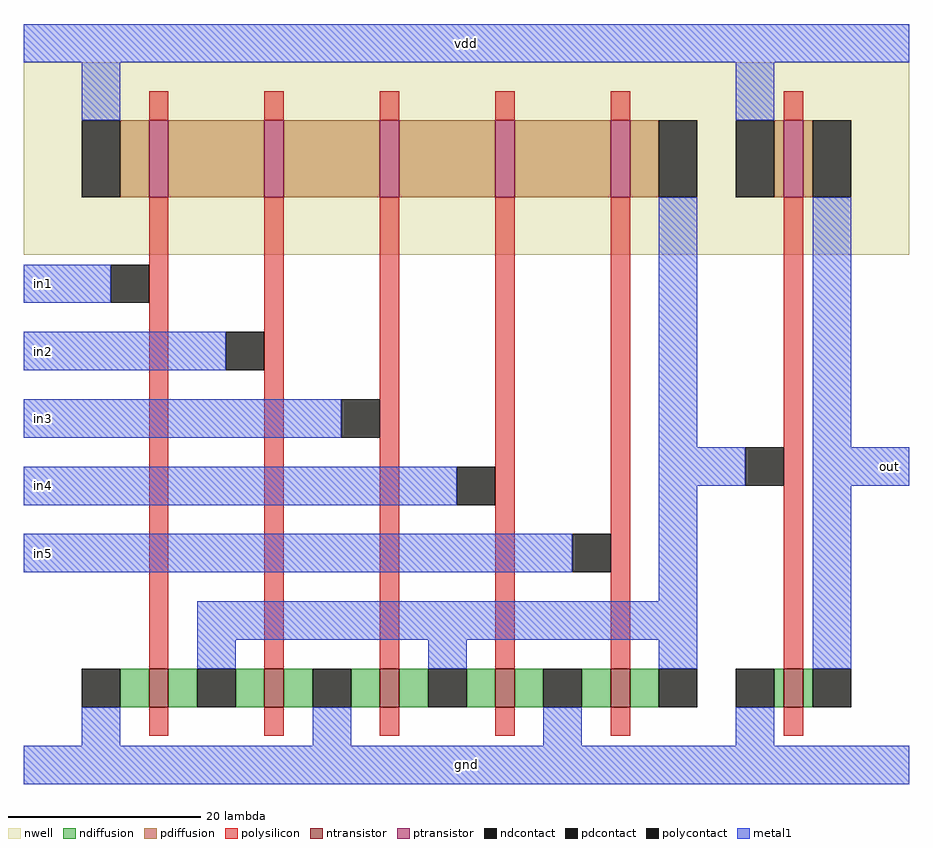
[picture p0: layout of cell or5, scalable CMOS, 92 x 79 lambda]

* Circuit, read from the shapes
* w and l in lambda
.subckt or5 gnd in1 in2 in3 in4 in5 out vdd
M1 n1 in1 gnd VSUBS nfet w=4 l=2
M2 gnd in2 n1 VSUBS nfet w=4 l=2
M3 n1 in3 gnd VSUBS nfet w=4 l=2
M4 gnd in4 n1 VSUBS nfet w=4 l=2
M5 n1 in5 gnd VSUBS nfet w=4 l=2
M6 out n1 gnd VSUBS nfet w=4 l=2
M7 n2 in1 vdd n3 pfet w=8 l=2
M8 n4 in2 n2 n3 pfet w=8 l=2
M9 n5 in3 n4 n3 pfet w=8 l=2
M10 n6 in4 n5 n3 pfet w=8 l=2
M11 n1 in5 n6 n3 pfet w=8 l=2
M12 out n1 vdd n3 pfet w=8 l=2
.ends

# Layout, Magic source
magic
tech scmos
<< nwell >>
rect 0 0 92 20
<< ntransistor >>
rect 13 -47 15 -43
rect 25 -47 27 -43
rect 37 -47 39 -43
rect 49 -47 51 -43
rect 61 -47 63 -43
rect 79 -47 81 -43
<< ptransistor >>
rect 13 6 15 14
rect 25 6 27 14
rect 37 6 39 14
rect 49 6 51 14
rect 61 6 63 14
rect 79 6 81 14
<< ndiffusion >>
rect 10 -47 13 -43
rect 15 -47 18 -43
rect 22 -47 25 -43
rect 27 -47 30 -43
rect 34 -47 37 -43
rect 39 -47 42 -43
rect 46 -47 49 -43
rect 51 -47 54 -43
rect 58 -47 61 -43
rect 63 -47 66 -43
rect 78 -47 79 -43
rect 81 -47 82 -43
<< pdiffusion >>
rect 10 6 13 14
rect 15 6 25 14
rect 27 6 37 14
rect 39 6 49 14
rect 51 6 61 14
rect 63 6 66 14
rect 78 6 79 14
rect 81 6 82 14
<< ndcontact >>
rect 6 -47 10 -43
rect 18 -47 22 -43
rect 30 -47 34 -43
rect 42 -47 46 -43
rect 54 -47 58 -43
rect 66 -47 70 -43
rect 74 -47 78 -43
rect 82 -47 86 -43
<< pdcontact >>
rect 6 6 10 14
rect 66 6 70 14
rect 74 6 78 14
rect 82 6 86 14
<< polysilicon >>
rect 13 14 15 17
rect 25 14 27 17
rect 37 14 39 17
rect 49 14 51 17
rect 61 14 63 17
rect 79 14 81 17
rect 13 -43 15 6
rect 25 -43 27 6
rect 37 -43 39 6
rect 49 -43 51 6
rect 61 -43 63 6
rect 79 -43 81 6
rect 13 -50 15 -47
rect 25 -50 27 -47
rect 37 -50 39 -47
rect 49 -50 51 -47
rect 61 -50 63 -47
rect 79 -50 81 -47
<< polycontact >>
rect 9 -5 13 -1
rect 21 -12 25 -8
rect 33 -19 37 -15
rect 45 -26 49 -22
rect 57 -33 61 -29
rect 75 -24 79 -20
<< metal1 >>
rect 0 20 92 24
rect 6 14 10 20
rect 74 14 78 20
rect 0 -5 9 -1
rect 0 -12 21 -8
rect 0 -19 33 -15
rect 66 -20 70 6
rect 82 -20 86 6
rect 0 -26 45 -22
rect 66 -24 75 -20
rect 82 -24 92 -20
rect 0 -33 57 -29
rect 66 -36 70 -24
rect 18 -40 70 -36
rect 18 -43 22 -40
rect 42 -43 46 -40
rect 66 -43 70 -40
rect 82 -43 86 -24
rect 6 -51 10 -47
rect 30 -51 34 -47
rect 54 -51 58 -47
rect 74 -51 78 -47
rect 0 -55 92 -51
<< labels >>
rlabel metal1 0 -5 4 -1 3 in1
rlabel metal1 0 -12 4 -8 3 in2
rlabel metal1 0 -19 4 -15 3 in3
rlabel metal1 0 -26 4 -22 3 in4
rlabel metal1 0 -33 4 -29 3 in5
rlabel metal1 0 20 92 24 5 vdd
rlabel metal1 0 -55 92 -51 1 gnd
rlabel metal1 88 -24 92 -20 7 out
<< end >>
